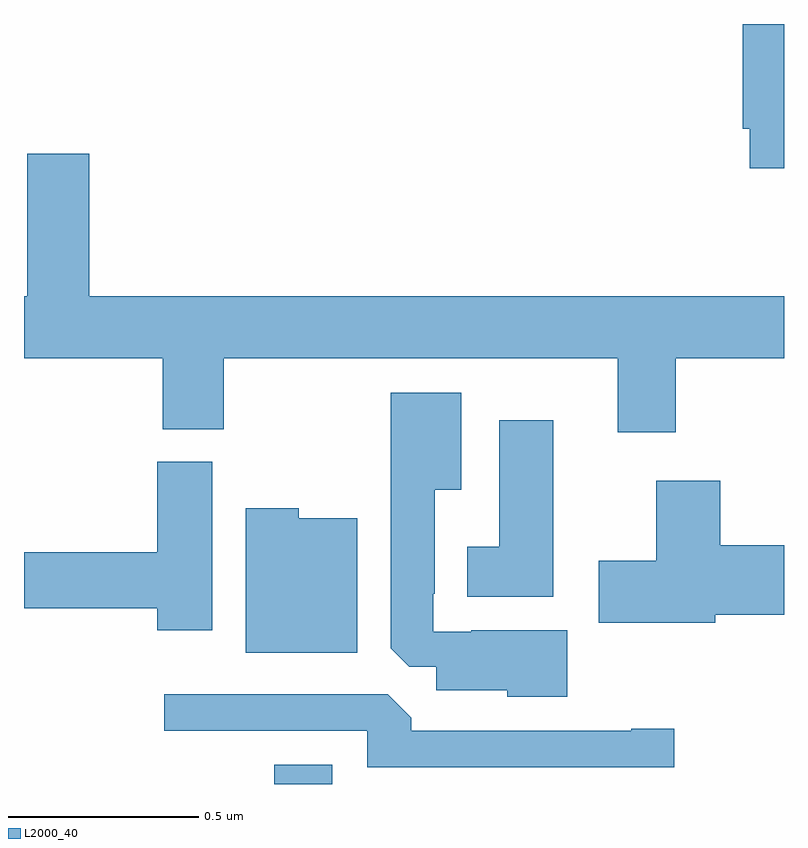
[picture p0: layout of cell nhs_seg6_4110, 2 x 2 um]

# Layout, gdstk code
import gdstk
lib = gdstk.Library(unit=1e-6, precision=1e-09)
def R(c, l, rs):  # rectangles x0, y0, x1, y1
    for r in rs: c.add(gdstk.rectangle(r[:2], r[2:], *l))
def P(c, l, *ps):  # polygons
    for p in ps: c.add(gdstk.Polygon(p, *l))
L2000_40 = (2000, 40)

nhs_seg6_4110 = lib.new_cell('nhs_seg6_4110')
R(nhs_seg6_4110, L2000_40, [(165.659,995.5,165.811,995.551)])
P(nhs_seg6_4110, L2000_40, [(167,997.5),(166.891,997.5),(166.891,997.225),(166.91,997.225),(166.91,997.121),(167,997.121)],
  [(166.715,996.62),(167,996.62),(167,996.784),(165.172,996.784),(165.172,997.159),(165.008,997.159),(165.008,996.784),(165,996.784),(165,996.62),(165.365,996.62),(165.365,996.433),(165.525,996.433),(165.525,996.62),(166.562,996.62),(166.562,996.426),(166.715,996.426)],
  [(166.429,995.905),(166.177,995.905),(166.177,995.901),(166.077,995.901),(166.077,996.001),(166.081,996.001),(166.081,996.275),(166.15,996.275),(166.15,996.529),(165.965,996.529),(165.965,995.857),(166.014,995.808),(166.085,995.808),(166.085,995.747),(166.272,995.747),(166.272,995.729),(166.429,995.729)],
  [(166.393,996.457),(166.25,996.457),(166.25,996.124),(166.166,996.124),(166.166,995.993),(166.393,995.993)],
  [(165.496,996.348),(165.35,996.348),(165.35,996.11),(165,996.11),(165,995.963),(165.35,995.963),(165.35,995.904),(165.496,995.904)],
  [(166.819,995.945),(167,995.945),(167,996.128),(166.832,996.128),(166.832,996.298),(166.664,996.298),(166.664,996.087),(166.512,996.087),(166.512,995.924),(166.819,995.924)],
  [(165.877,996.199),(165.723,996.199),(165.723,996.226),(165.584,996.226),(165.584,995.846),(165.877,995.846)],
  [(166.711,995.645),(166.598,995.645),(166.598,995.64),(166.019,995.64),(166.019,995.674),(165.957,995.736),(165.369,995.736),(165.369,995.64),(165.903,995.64),(165.903,995.544),(166.711,995.544)])

lib.write_gds('nhs_seg6_4110.gds')
